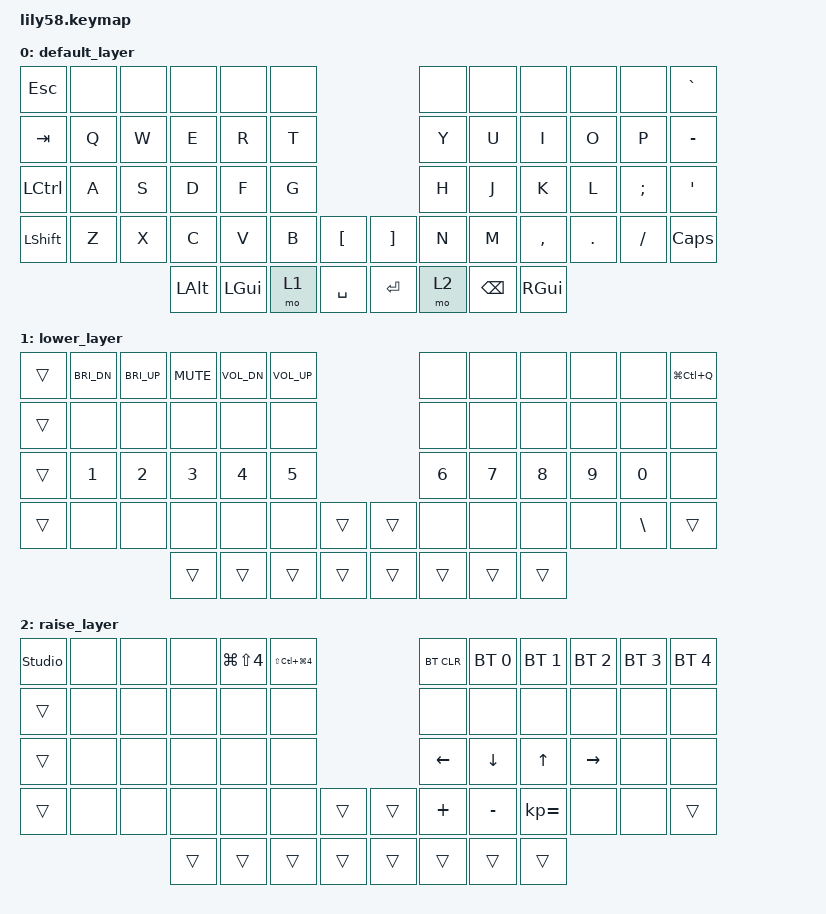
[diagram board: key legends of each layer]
/*
 * Copyright (c) 2020 The ZMK Contributors
 *
 * SPDX-License-Identifier: MIT
 */

#include <behaviors.dtsi>
#include <dt-bindings/zmk/bt.h>
#include <dt-bindings/zmk/keys.h>

/ {
    combos {
        compatible = "zmk,combos";

        f1 {
            bindings = <&kp F1>;
            key-positions = <25 26>;
            layers = <1>;
            timeout-ms = <50>;
        };

        f2 {
            bindings = <&kp F2>;
            key-positions = <26 27>;
            layers = <1>;
            timeout-ms = <50>;
        };

        f3 {
            bindings = <&kp F3>;
            key-positions = <27 28>;
            timeout-ms = <50>;
            layers = <1>;
        };

        f4 {
            bindings = <&kp F4>;
            key-positions = <28 29>;
            timeout-ms = <50>;
            layers = <1>;
        };

        f5 {
            bindings = <&kp F5>;
            key-positions = <29 30>;
            timeout-ms = <50>;
            layers = <1>;
        };

        f6 {
            bindings = <&kp F6>;
            key-positions = <30 31>;
            timeout-ms = <50>;
            layers = <1>;
        };

        f7 {
            bindings = <&kp F7>;
            key-positions = <31 32>;
            timeout-ms = <50>;
            layers = <1>;
        };

        f8 {
            bindings = <&kp F8>;
            key-positions = <32 33>;
            timeout-ms = <50>;
            layers = <1>;
        };

        f9 {
            bindings = <&kp F9>;
            key-positions = <33 34>;
            timeout-ms = <50>;
            layers = <1>;
        };

        f10 {
            bindings = <&kp F10>;
            key-positions = <34 25>;
            timeout-ms = <50>;
            layers = <1>;
        };

        f11 {
            bindings = <&kp F11>;
            key-positions = <25 26 27>;
            timeout-ms = <50>;
            layers = <1>;
        };

        f12 {
            bindings = <&kp F12>;
            key-positions = <26 27 28>;
            timeout-ms = <50>;
            layers = <1>;
        };
    };

    keymap {
        compatible = "zmk,keymap";

        default_layer {
            // ------------------------------------------------------------------------------------------------------------
            // |  ESC  |  1  |  2  |  3   |  4   |  5   |                   |  6   |  7    |  8    |  9   |   0   |   `   |
            // |  TAB  |  Q  |  W  |  E   |  R   |  T   |                   |  Y   |  U    |  I    |  O   |   P   |   -   |
            // |  CTRL |  A  |  S  |  D   |  F   |  G   |                   |  H   |  J    |  K    |  L   |   ;   |   '   |
            // | SHIFT |  Z  |  X  |  C   |  V   |  B   |   "["  |  |  "]"  |  N   |  M    |  ,    |  .   |   /   | SHIFT |
            //                     | ALT  | GUI  | LOWER|  SPACE |  | ENTER | RAISE| BSPC  | GUI   |

            bindings = <
&kp ESC     &none  &none  &none     &none     &none                         &none  &none     &none      &none    &none     &kp GRAVE
&kp TAB     &kp Q  &kp W  &kp E     &kp R     &kp T                         &kp Y  &kp U     &kp I      &kp O    &kp P     &kp MINUS
&kp LCTRL   &kp A  &kp S  &kp D     &kp F     &kp G                         &kp H  &kp J     &kp K      &kp L    &kp SEMI  &kp SQT
&kp LSHIFT  &kp Z  &kp X  &kp C     &kp V     &kp B  &kp LBKT     &kp RBKT  &kp N  &kp M     &kp COMMA  &kp DOT  &kp FSLH  &kp CAPS
                          &kp LALT  &kp LGUI  &mo 1  &kp SPACE    &kp RET   &mo 2  &kp BSPC  &kp RGUI
            >;
        };

        lower_layer {
            // ------------------------------------------------------------------------------------------------------------
            // |       | BRDn | BRUp |  MUT |  Vo- |  Vo+ |                   |      |       |       |      |       |       |
            // |  F1   |  F2  |  F3  |  F4  |  F5  |  F6  |                   |  F7  |  F8   |  F9   |  F10 |  F11  |  F12  |
            // |   `   |  !   |  @   |  #   |  $   |  %   |                   |  ^   |  &    |  *    |  (   |   )   |   ~   |
            // |       |      |      |      |      |      |        |  |       |      |  _    |  +    |  {   |   }   |  "|"  |
            //                       |      |      |      |        |  |       |      |       |       |

            bindings = <
&trans  &kp C_BRI_DN  &kp C_BRI_UP  &kp C_MUTE    &kp C_VOL_DN  &kp C_VOL_UP                    &none         &none   &none   &none   &none          &kp LG(LC(Q))
&trans  &none         &none         &none         &none         &none                           &none         &none   &none   &none   &none          &none
&trans  &kp NUMBER_1  &kp NUMBER_2  &kp NUMBER_3  &kp NUMBER_4  &kp N5                          &kp NUMBER_6  &kp N7  &kp N8  &kp N9  &kp N0         &none
&trans  &none         &none         &none         &none         &none         &trans    &trans  &none         &none   &none   &none   &kp BACKSLASH  &trans
                                    &trans        &trans        &trans        &trans    &trans  &trans        &trans  &trans
            >;
        };

        raise_layer {
            // ------------------------------------------------------------------------------------------------------------
            // |       |     |     |      |      |      |                   | Bt clear | Bt 0 | Bt 1 | Bt 2 | Bt 3 | Bt 4 |
            // |   `   |  1  |  2  |  3   |  4   |  5   |                   |          |      |      |      |      |      |
            // |   F1  |  F2 |  F3 |  F4  |  F5  |  F6  |                   |          |  <-  |  v   |  ^   |  ->  |      |
            // |   F7  |  F8 |  F9 |  F10 |  F11 |  F12 |        |  |       |    +     |  -   |  =   |  [   |  ]   |  \   |
            //                     |      |      |      |        |  |       |          |      |      |

            bindings = <
&studio_unlock  &none  &none  &none   &kp LG(LS(N4))  &kp LS(LC(LG(N4)))                    &bt BT_CLR  &bt BT_SEL 0  &bt BT_SEL 1  &bt BT_SEL 2  &bt BT_SEL 3  &bt BT_SEL 4
&trans          &none  &none  &none   &none           &none                                 &none       &none         &none         &none         &none         &none
&trans          &none  &none  &none   &none           &none                                 &kp LEFT    &kp DOWN      &kp UP        &kp RIGHT     &none         &none
&trans          &none  &none  &none   &none           &none               &trans    &trans  &kp PLUS    &kp MINUS     &kp KP_EQUAL  &none         &none         &trans
                              &trans  &trans          &trans              &trans    &trans  &trans      &trans        &trans
            >;
        };
    };
};
